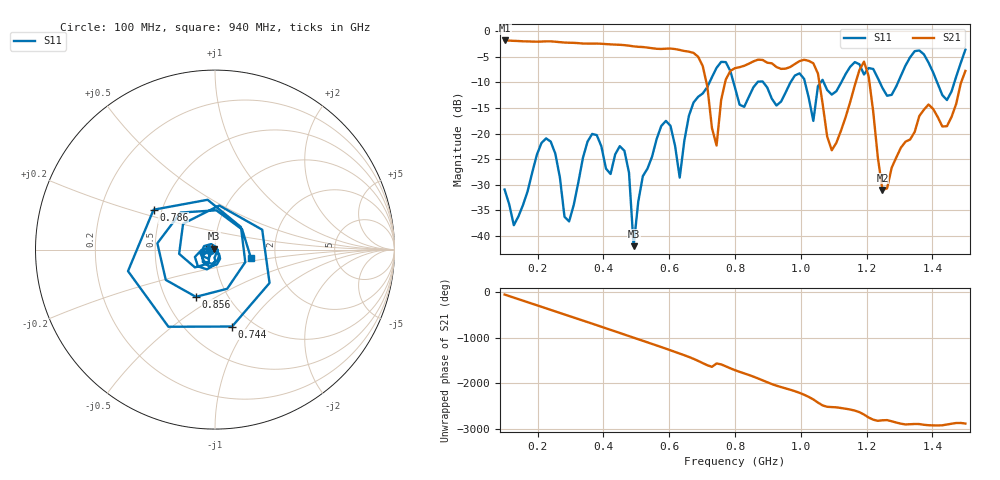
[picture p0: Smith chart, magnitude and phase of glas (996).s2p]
! NanoVNA-App
! Date: 2025-09-25 16:03:13
! Start: 100MHz Stop: 1,5GHz Points: 101
! S-Parameter data: F S11 S21 S12 S22
# Hz S RI R 50
!  Frequency  S11_Real  S11_Imag  S21_Real  S21_Imag  S12_Real  S12_Imag  S22_Real  S22_Imag
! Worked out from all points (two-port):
!   101 points, 100 MHz to 1.5 GHz, reference 50 ohm
!   highest |S21| = -1.80 dB at 100 MHz (marker M1); lowest = -31.0 dB at 1.248 GHz (marker M2)
!   |S21| within 3 dB of the highest: start of sweep to 684.7 MHz
!   lowest |S11| = -42.0 dB at 492 MHz (marker M3), VSWR 1.02, Z = 49.5 + j0.604 ohm
!   |S11| at or under -10 dB: start of sweep to 722.5 MHz; 795.5 MHz to 868 MHz (72.43 MHz wide, 8.71 % of centre); 886.2 MHz to 968.5 MHz (82.34 MHz wide, 8.88 % of centre) (the widest 3 of 7)
!   S12 and S22 are empty: the file has one direction only
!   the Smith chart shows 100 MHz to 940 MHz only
!   S11 on the Smith chart (normalised r, x): 100 MHz: 0.94, -0.01; 744 MHz: 0.81, -0.86; 786 MHz: 0.45, +0.24; 856 MHz: 0.71, -0.41; 940 MHz: 1.49, -0.15
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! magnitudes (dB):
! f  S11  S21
! 100 MHz  -30.9  -1.8
! 128 MHz  -37.9  -1.9
! 226 MHz  -20.9  -2.0
! 296 MHz  -37.1  -2.2
! 338 MHz  -24.7  -2.4
! 464 MHz  -23.3  -2.7
! 492 MHz  -42.0  -3.0
! 576 MHz  -18.5  -3.5
! 632 MHz  -28.6  -3.7
! 702 MHz  -12.2  -6.8
! 744 MHz  -7.2  -22.3
! 786 MHz  -7.8  -7.7
! 800 MHz  -11.0  -7.2
! 856 MHz  -10.9  -5.9
! 940 MHz  -13.7  -7.4
! 996 MHz  -8.2  -5.8
! 1.038 GHz  -17.5  -6.3
! 1.094 GHz  -12.4  -23.2
! 1.192 GHz  -8.5  -5.9
! 1.248 GHz  -11.1  -31.0
! 1.276 GHz  -12.4  -26.7
! 1.5 GHz  -3.6  -7.8
